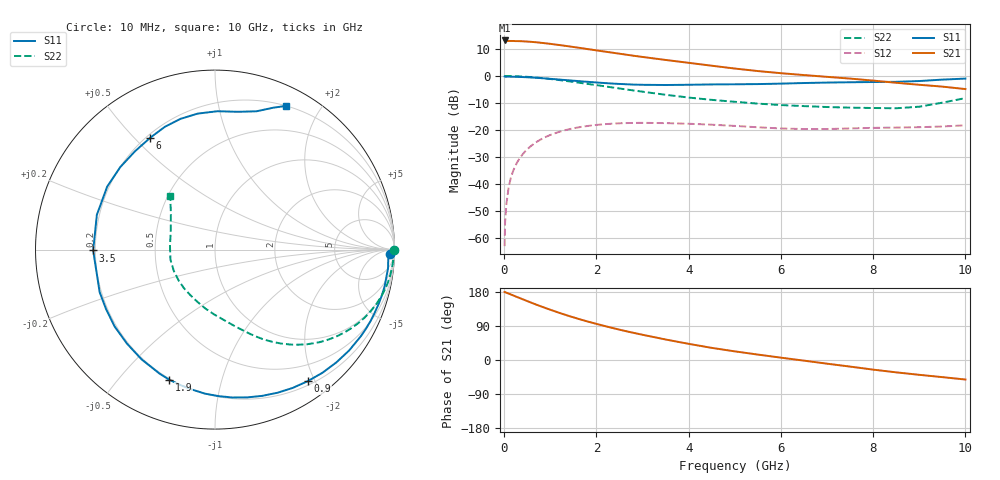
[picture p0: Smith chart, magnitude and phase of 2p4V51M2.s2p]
! (c) 2009  Infineon Technologies AG, Munich
! Infineon Technologies  Discrete & RF Semiconductors
! BFP420
! VCE =  4.5 V,  IC =  1.2 mA
! Common Emitter S-Parameters:  Nov 2009
# GHz  S  MA  R  50
!  f  S11  S21  S12  S22
! GHz  MAG  ANG  MAG  ANG  MAG  ANG  MAG  ANG
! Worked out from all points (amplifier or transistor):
!   46 points, 10 MHz to 10 GHz, reference 50 ohm
!   highest |S21| = 13.2 dB at 10 MHz (marker M1)
!   |S21| within 3 dB of that: start of sweep to 1.736 GHz
!   unconditionally stable (mu >= 1): 4.307 GHz to end of sweep
!   at 300 MHz: K = 0.05, MSG = 22.2 dB, |S12| = -31.5 dB
!   at 1.7 GHz: K = 0.27, MSG = 14.5 dB, |S12| = -18.8 dB
!   at 10 GHz: K = 1.31, MAG = 3.4 dB, |S12| = -18.3 dB
!   lowest NFmin = 0.53 dB at 900 MHz
!   S11 on the Smith chart (normalised r, x): 10 MHz: 44, -44; 900 MHz: 0.25, -1.90; 1.9 GHz: 0.20, -0.69; 3.5 GHz: 0.19, -0.00; 6 GHz: 0.21, +0.56; 10 GHz: 0.20, +1.59
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0.01  0.9775 -1.3  4.545 179.2  0.0007 33.4  0.9958 0.0
0.02  0.9696 -1.3  4.396 179.3  0.0019 69.3  0.9949 -0.6
0.05  0.9668 -3.1  4.42 177.5  0.0043 80.0  0.9953 -1.5
0.1  0.9697 -6.2  4.449 175.1  0.0089 82.7  0.9949 -3.2
0.2  0.9668 -12.2  4.444 170.3  0.0178 81.2  0.9906 -6.3
0.4  0.9538 -24.6  4.385 160.4  0.0352 74.8  0.9742 -12.6
0.6  0.9352 -36.9  4.273 150.7  0.0518 67.9  0.9488 -18.7
0.9  0.897 -54.8  4.027 137.0  0.0739 57.7  0.897 -27.2
1.1  0.8703 -66.4  3.831 128.5  0.0866 51.4  0.8577 -32.4
1.3  0.8428 -77.7  3.636 120.3  0.0977 45.4  0.8164 -37.3
1.7  0.7906 -99.2  3.255 105.4  0.1148 34.2  0.7338 -46.0
1.9  0.7683 -109.4  3.068 98.6  0.121 29.2  0.6941 -49.8
2.2  0.7357 -123.8  2.814 89.0  0.128 22.3  0.6387 -55.0
2.6  0.7045 -142.6  2.512 77.2  0.1335 13.7  0.5698 -61.5
3  0.6852 -159.7  2.249 66.6  0.1351 6.5  0.5107 -67.2
3.5  0.6788 -179.6  1.978 54.1  0.1335 -1.3  0.4474 -74.6
4.5  0.6957 149.7  1.547 32.0  0.1249 -12.3  0.3603 -91.0
5.5  0.7063 129.1  1.232 14.3  0.1118 -18.1  0.3071 -108.6
6  0.7202 120.1  1.124 6.2  0.1063 -18.5  0.2885 -118.4
7  0.7534 104.8  0.962 -9.7  0.1039 -17.0  0.2654 -139.9
8.5  0.7781 80.6  0.747 -32.6  0.1104 -18.4  0.2516 175.4
10  0.8931 63.7  0.571 -51.5  0.1217 -18.9  0.3884 129.9
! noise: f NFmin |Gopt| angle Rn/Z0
0.9  0.53  0.62  33  0.31
1.8  1.1  0.4  77  0.24
2.4  1.23  0.41  100  0.2
3  1.51  0.41  132  0.14
4  1.8  0.44  -175  0.09
5  2.23  0.45  -132  0.38
6  3.18  0.57  -116  0.44
